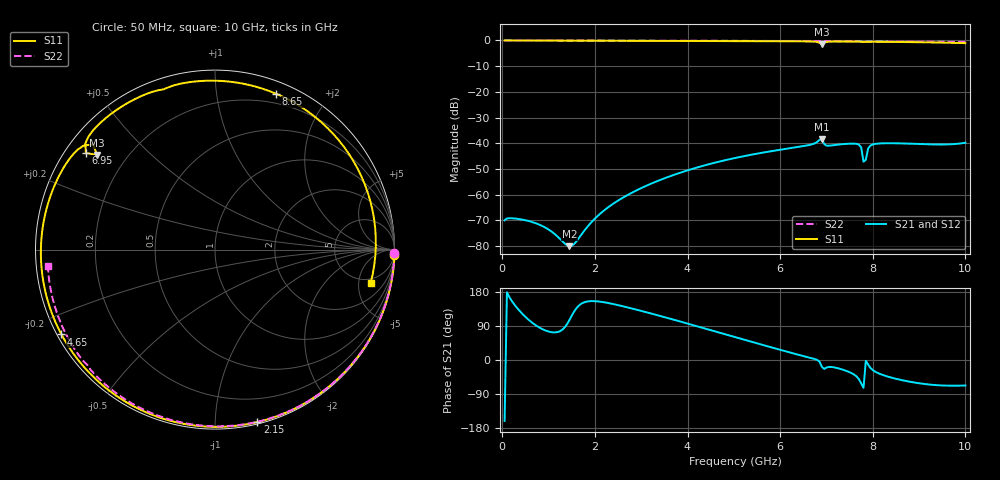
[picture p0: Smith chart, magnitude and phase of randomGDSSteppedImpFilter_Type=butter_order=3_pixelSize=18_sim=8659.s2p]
! freq	dB(S11)	phase(S11)	dB(S12)	phase(S12)
!  dB(S21)	phase(S21)	dB(S22)	phase(S22)
!S-par simulation data
#  GHz  S  DB  R 50
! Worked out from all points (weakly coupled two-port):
!   200 points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, 50 MHz to 10 GHz, reference 50 ohm
!   highest |S21| = -38.39 dB at 6.9 GHz (marker M1); lowest = -80.0 dB at 1.45 GHz (marker M2)
!   lowest |S11| = -1.5 dB at 6.9 GHz (marker M3), VSWR 11.69, Z = 4.8 + j17.4 ohm
!   |S11| at or under -10 dB: nowhere
!   |S22| runs from -0.6 to 0.0 dB; largest |S21 - S12| = 0
!   S11 on the Smith chart (normalised r, x): 50 MHz: 0, -61; 2.15 GHz: 0.01, -1.27; 4.65 GHz: 0.01, -0.26; 6.95 GHz: 0.06, +0.33; 8.65 GHz: 0.11, +1.46; 10 GHz: 4.13, -7.15
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0.05  -0.00 -1.9  -69.95 -160.9  -69.95 -160.9  -0.00 -1.0
0.75  -0.03 -27.7  -71.29 89.4  -71.29 89.4  -0.02 -14.8
1.45  -0.06 -52.6  -80.03 105.5  -80.03 105.5  -0.04 -28.4
1.75  -0.08 -62.9  -74.50 151.3  -74.50 151.3  -0.04 -34.2
2.15  -0.09 -76.2  -66.84 153.3  -66.84 153.3  -0.05 -41.7
3.4  -0.14 -115.1  -54.34 116.5  -54.34 116.5  -0.09 -64.7
4.65  -0.20 -151.1  -47.29 73.5  -47.29 73.5  -0.13 -86.5
5.05  -0.22 -162.5  -45.64 59.6  -45.64 59.6  -0.14 -93.3
5.95  -0.29 171.1  -42.67 28.6  -42.67 28.6  -0.19 -108.1
6.7  -0.42 146.1  -40.34 4.1  -40.34 4.1  -0.24 -120.2
6.9  -1.49 141.2  -38.39 -17.8  -38.39 -17.8  -0.25 -123.4
6.95  -0.93 143.2  -40.24 -23.6  -40.24 -23.6  -0.25 -124.2
7.7  -0.48 111.7  -40.52 -50.3  -40.52 -50.3  -0.33 -136.3
7.75  -0.51 109.6  -41.60 -61.7  -41.60 -61.7  -0.35 -137.2
7.8  -0.55 107.8  -47.17 -73.5  -47.17 -73.5  -0.37 -137.9
7.85  -0.53 106.0  -46.41 -2.3  -46.41 -2.3  -0.36 -138.4
7.9  -0.51 103.9  -42.00 -12.1  -42.00 -12.1  -0.35 -139.3
7.95  -0.50 101.7  -40.89 -20.9  -40.89 -20.9  -0.34 -140.1
8.35  -0.55 83.4  -39.98 -44.7  -39.98 -44.7  -0.38 -146.6
8.65  -0.60 68.6  -40.06 -53.7  -40.06 -53.7  -0.41 -151.5
9.4  -0.80 26.5  -40.48 -66.6  -40.48 -66.6  -0.50 -164.0
10  -1.04 -12.0  -39.78 -67.3  -39.78 -67.3  -0.58 -174.4
